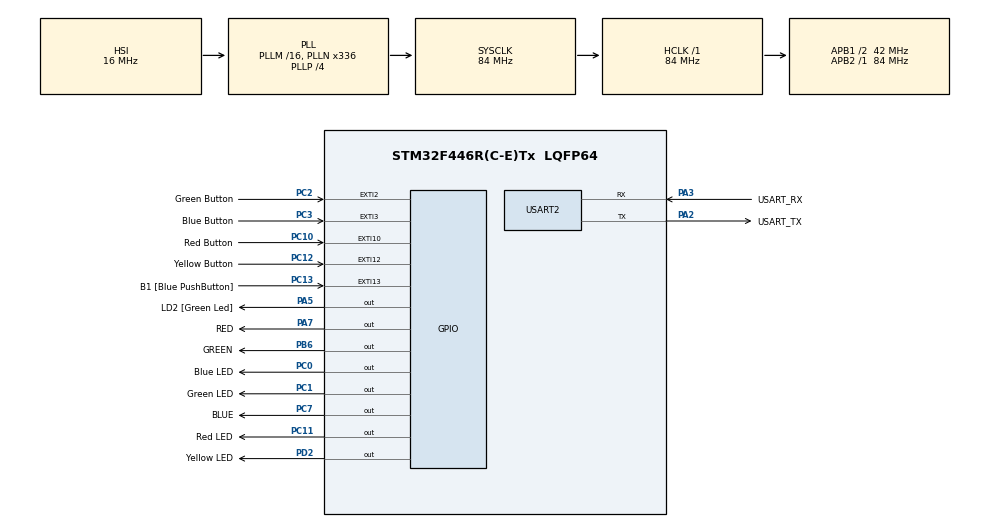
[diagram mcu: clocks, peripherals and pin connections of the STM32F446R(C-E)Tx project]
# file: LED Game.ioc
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Mcu.Family=STM32F4
Mcu.Name=STM32F446R(C-E)Tx
Mcu.Package=LQFP64
NVIC.EXTI15_10_IRQn=true\:0\:0\:false\:false\:true\:true\:true\:true
NVIC.EXTI2_IRQn=true\:0\:0\:false\:false\:true\:true\:true\:true
NVIC.EXTI3_IRQn=true\:0\:0\:false\:false\:true\:true\:true\:true
NVIC.PriorityGroup=NVIC_PRIORITYGROUP_0
NVIC.TIM3_IRQn=true\:0\:0\:false\:false\:true\:true\:true\:true
PA13.GPIO_Label=TMS
PA13.Mode=Serial_Wire
PA13.Signal=SYS_JTMS-SWDIO
PA14.GPIO_Label=TCK
PA14.Mode=Serial_Wire
PA14.Signal=SYS_JTCK-SWCLK
PA2.GPIO_Label=USART_TX
PA2.Mode=Asynchronous
PA2.Signal=USART2_TX
PA3.GPIO_Label=USART_RX
PA3.Mode=Asynchronous
PA3.Signal=USART2_RX
PA5.GPIO_Label=LD2 [Green Led]
PA5.Signal=GPIO_Output
PA7.GPIO_Label=RED
PA7.Signal=GPIO_Output
PB3.GPIO_Label=SWO
PB3.Signal=SYS_JTDO-SWO
PB6.GPIO_Label=GREEN
PB6.Signal=GPIO_Output
PC0.GPIO_Label=Blue LED
PC0.Signal=GPIO_Output
PC1.GPIO_Label=Green LED
PC1.Signal=GPIO_Output
PC10.GPIO_Label=Red Button
PC10.Signal=GPXTI10
PC11.GPIO_Label=Red LED
PC11.Signal=GPIO_Output
PC12.GPIO_Label=Yellow Button
PC12.Signal=GPXTI12
PC13.GPIO_Label=B1 [Blue PushButton]
PC13.GPIO_ModeDefaultEXTI=GPIO_MODE_IT_FALLING
PC13.Signal=GPXTI13
PC14-OSC32_IN.Mode=LSE-External-Oscillator
PC14-OSC32_IN.Signal=RCC_OSC32_IN
PC15-OSC32_OUT.Mode=LSE-External-Oscillator
PC15-OSC32_OUT.Signal=RCC_OSC32_OUT
PC2.GPIO_Label=Green Button
PC2.Signal=GPXTI2
PC3.GPIO_Label=Blue Button
PC3.Signal=GPXTI3
PC7.GPIO_Label=BLUE
PC7.Signal=GPIO_Output
PD2.GPIO_Label=Yellow LED
PD2.Signal=GPIO_Output
PH0-OSC_IN.Mode=HSE-External-Oscillator
PH0-OSC_IN.Signal=RCC_OSC_IN
PH1-OSC_OUT.Mode=HSE-External-Oscillator
PH1-OSC_OUT.Signal=RCC_OSC_OUT
ProjectManager.HeapSize=0x200
ProjectManager.StackSize=0x400
ProjectManager.TargetToolchain=STM32CubeIDE
RCC.48MHZClocksFreq_Value=84000000
RCC.AHBFreq_Value=84000000
RCC.APB1CLKDivider=RCC_HCLK_DIV2
RCC.APB1Freq_Value=42000000
RCC.APB1TimFreq_Value=84000000
RCC.APB2Freq_Value=84000000
RCC.APB2TimFreq_Value=84000000
RCC.CortexFreq_Value=84000000
RCC.FLatency-AdvancedSettings=FLASH_LATENCY_2
RCC.HCLKFreq_Value=84000000
RCC.HSE_VALUE=8000000
RCC.HSI_VALUE=16000000
RCC.PLLN=336
RCC.PLLP=RCC_PLLP_DIV4
RCC.SYSCLKFreq_VALUE=84000000
RCC.SYSCLKSource=RCC_SYSCLKSOURCE_PLLCLK
RCC.USBFreq_Value=168000000
RCC.VCOOutputFreq_Value=336000000
TIM3.Period=10000
TIM3.Prescaler=8400
USART2.VirtualMode=VM_ASYNC
VP_TIM3_VS_ClockSourceINT.Mode=Internal
board=NUCLEO-F446RE

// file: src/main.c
/* USER CODE BEGIN Header */
/**
  ******************************************************************************
  * @file           : main.c
  * @brief          : Main program body
  ******************************************************************************
  * @attention
  *
  * Copyright (c) 2025 STMicroelectronics.
  * All rights reserved.
  *
  * This software is licensed under terms that can be found in the LICENSE file
  * in the root directory of this software component.
  * If no LICENSE file comes with this software, it is provided AS-IS.
  *
  ******************************************************************************
  */
/* USER CODE END Header */
#include "main.h"

TIM_HandleTypeDef htim3;

UART_HandleTypeDef huart2;

/* USER CODE BEGIN PV */
int led = 0; // led state/selection. Allows a timer to know which button was pressed and toggle that led off
// Also used to prevent a second button press while one is occuring.
// It is 1 - 4 depending on the button. 5 on correct selection

int RGBledPosition = 0; //the RGB LEDs colour

int state = 0; //program state

volatile unsigned int seed = 0; // for randomization
/* USER CODE END PV */

void SystemClock_Config(void);
static void MX_GPIO_Init(void);
static void MX_USART2_UART_Init(void);
static void MX_TIM3_Init(void);
/* USER CODE BEGIN PFP */
void ToggleRGB(int number, int state);
void randomize(); //randomizes the seed
/* USER CODE END PFP */

int main(void)
{
  /* MCU Configuration--------------------------------------------------------*/

  /* Reset of all peripherals, Initializes the Flash interface and the Systick. */
  HAL_Init();

  /* Configure the system clock */
  SystemClock_Config();

  /* Initialize all configured peripherals */
  MX_GPIO_Init();
  MX_USART2_UART_Init();
  MX_TIM3_Init();
  /* USER CODE BEGIN 2 */
  __HAL_TIM_CLEAR_FLAG(&htim3, TIM_FLAG_UPDATE); //seems like a flag is being set by default, and causes the first timer callback to trigger instantly
  /* USER CODE END 2 */

  /* Infinite loop */
  /* USER CODE BEGIN WHILE */
  while (1)
  {
    if (state == 0){
      if (HAL_GPIO_ReadPin(B1_GPIO_Port, B1_Pin) == 0){ //i really shouldnt be polling here but I don't think it matters and it could add to the "randomness"
        seed = SysTick->VAL; //setting the seed to something semi random.
        state = 1;
      }
    }
    else if (state == 1){
      RGBledPosition = seed & 0b11; //picking which led we toggle
      ToggleRGB(RGBledPosition, state);
      randomize();
      state = 2;
    }
    else{
      __WFE();
    }
  }
}

void SystemClock_Config(void)
{
  RCC_OscInitTypeDef RCC_OscInitStruct = {0};
  RCC_ClkInitTypeDef RCC_ClkInitStruct = {0};

  /** Configure the main internal regulator output voltage
  */
  __HAL_RCC_PWR_CLK_ENABLE();
  __HAL_PWR_VOLTAGESCALING_CONFIG(PWR_REGULATOR_VOLTAGE_SCALE3);

  /** Initializes the RCC Oscillators according to the specified parameters
  * in the RCC_OscInitTypeDef structure.
  */
  RCC_OscInitStruct.OscillatorType = RCC_OSCILLATORTYPE_HSI;
  RCC_OscInitStruct.HSIState = RCC_HSI_ON;
  RCC_OscInitStruct.HSICalibrationValue = RCC_HSICALIBRATION_DEFAULT;
  RCC_OscInitStruct.PLL.PLLState = RCC_PLL_ON;
  RCC_OscInitStruct.PLL.PLLSource = RCC_PLLSOURCE_HSI;
  RCC_OscInitStruct.PLL.PLLM = 16;
  RCC_OscInitStruct.PLL.PLLN = 336;
  RCC_OscInitStruct.PLL.PLLP = RCC_PLLP_DIV4;
  RCC_OscInitStruct.PLL.PLLQ = 2;
  RCC_OscInitStruct.PLL.PLLR = 2;
  if (HAL_RCC_OscConfig(&RCC_OscInitStruct) != HAL_OK)
  {
    Error_Handler();
  }

  /** Initializes the CPU, AHB and APB buses clocks
  */
  RCC_ClkInitStruct.ClockType = RCC_CLOCKTYPE_HCLK|RCC_CLOCKTYPE_SYSCLK
                              |RCC_CLOCKTYPE_PCLK1|RCC_CLOCKTYPE_PCLK2;
  RCC_ClkInitStruct.SYSCLKSource = RCC_SYSCLKSOURCE_PLLCLK;
  RCC_ClkInitStruct.AHBCLKDivider = RCC_SYSCLK_DIV1;
  RCC_ClkInitStruct.APB1CLKDivider = RCC_HCLK_DIV2;
  RCC_ClkInitStruct.APB2CLKDivider = RCC_HCLK_DIV1;

  if (HAL_RCC_ClockConfig(&RCC_ClkInitStruct, FLASH_LATENCY_2) != HAL_OK)
  {
    Error_Handler();
  }
}

static void MX_TIM3_Init(void)
{
  TIM_ClockConfigTypeDef sClockSourceConfig = {0};
  TIM_MasterConfigTypeDef sMasterConfig = {0};

  htim3.Instance = TIM3;
  htim3.Init.Prescaler = 8400;
  htim3.Init.CounterMode = TIM_COUNTERMODE_UP;
  htim3.Init.Period = 10000;
  htim3.Init.ClockDivision = TIM_CLOCKDIVISION_DIV1;
  htim3.Init.AutoReloadPreload = TIM_AUTORELOAD_PRELOAD_DISABLE;
  if (HAL_TIM_Base_Init(&htim3) != HAL_OK)
  {
    Error_Handler();
  }
  sClockSourceConfig.ClockSource = TIM_CLOCKSOURCE_INTERNAL;
  if (HAL_TIM_ConfigClockSource(&htim3, &sClockSourceConfig) != HAL_OK)
  {
    Error_Handler();
  }
  sMasterConfig.MasterOutputTrigger = TIM_TRGO_RESET;
  sMasterConfig.MasterSlaveMode = TIM_MASTERSLAVEMODE_DISABLE;
  if (HAL_TIMEx_MasterConfigSynchronization(&htim3, &sMasterConfig) != HAL_OK)
  {
    Error_Handler();
  }
  /* USER CODE BEGIN TIM3_Init 2 */
  HAL_NVIC_SetPriority(TIM3_IRQn, 0, 0);
  HAL_NVIC_EnableIRQ(TIM3_IRQn);
  /* USER CODE END TIM3_Init 2 */
}

static void MX_USART2_UART_Init(void)
{
  huart2.Instance = USART2;
  huart2.Init.BaudRate = 115200;
  huart2.Init.WordLength = UART_WORDLENGTH_8B;
  huart2.Init.StopBits = UART_STOPBITS_1;
  huart2.Init.Parity = UART_PARITY_NONE;
  huart2.Init.Mode = UART_MODE_TX_RX;
  huart2.Init.HwFlowCtl = UART_HWCONTROL_NONE;
  huart2.Init.OverSampling = UART_OVERSAMPLING_16;
  if (HAL_UART_Init(&huart2) != HAL_OK)
  {
    Error_Handler();
  }
}

static void MX_GPIO_Init(void)
{
  GPIO_InitTypeDef GPIO_InitStruct = {0};
  /* GPIO Ports Clock Enable */
  __HAL_RCC_GPIOC_CLK_ENABLE();
  __HAL_RCC_GPIOH_CLK_ENABLE();
  __HAL_RCC_GPIOA_CLK_ENABLE();
  __HAL_RCC_GPIOD_CLK_ENABLE();
  __HAL_RCC_GPIOB_CLK_ENABLE();

  /*Configure GPIO pin Output Level */
  HAL_GPIO_WritePin(GPIOC, Blue_LED_Pin|Green_LED_Pin|BLUE_Pin|Red_LED_Pin, GPIO_PIN_RESET);

  /*Configure GPIO pin Output Level */
  HAL_GPIO_WritePin(GPIOA, LD2_Pin|RED_Pin, GPIO_PIN_RESET);

  /*Configure GPIO pin Output Level */
  HAL_GPIO_WritePin(Yellow_LED_GPIO_Port, Yellow_LED_Pin, GPIO_PIN_RESET);

  /*Configure GPIO pin Output Level */
  HAL_GPIO_WritePin(GREEN_GPIO_Port, GREEN_Pin, GPIO_PIN_RESET);

  /*Configure GPIO pin : B1_Pin */
  GPIO_InitStruct.Pin = B1_Pin;
  GPIO_InitStruct.Mode = GPIO_MODE_IT_FALLING;
  GPIO_InitStruct.Pull = GPIO_NOPULL;
  HAL_GPIO_Init(B1_GPIO_Port, &GPIO_InitStruct);

  /*Configure GPIO pins : Blue_LED_Pin Green_LED_Pin BLUE_Pin Red_LED_Pin */
  GPIO_InitStruct.Pin = Blue_LED_Pin|Green_LED_Pin|BLUE_Pin|Red_LED_Pin;
  GPIO_InitStruct.Mode = GPIO_MODE_OUTPUT_PP;
  GPIO_InitStruct.Pull = GPIO_NOPULL;
  GPIO_InitStruct.Speed = GPIO_SPEED_FREQ_LOW;
  HAL_GPIO_Init(GPIOC, &GPIO_InitStruct);

  /*Configure GPIO pins : Green_Button_Pin Blue_Button_Pin Red_Button_Pin Yellow_Button_Pin */
  GPIO_InitStruct.Pin = Green_Button_Pin|Blue_Button_Pin|Red_Button_Pin|Yellow_Button_Pin;
  GPIO_InitStruct.Mode = GPIO_MODE_IT_FALLING;
  GPIO_InitStruct.Pull = GPIO_PULLUP;
  HAL_GPIO_Init(GPIOC, &GPIO_InitStruct);

  /*Configure GPIO pins : LD2_Pin RED_Pin */
  GPIO_InitStruct.Pin = LD2_Pin|RED_Pin;
  GPIO_InitStruct.Mode = GPIO_MODE_OUTPUT_PP;
  GPIO_InitStruct.Pull = GPIO_NOPULL;
  GPIO_InitStruct.Speed = GPIO_SPEED_FREQ_LOW;
  HAL_GPIO_Init(GPIOA, &GPIO_InitStruct);

  /*Configure GPIO pin : Yellow_LED_Pin */
  GPIO_InitStruct.Pin = Yellow_LED_Pin;
  GPIO_InitStruct.Mode = GPIO_MODE_OUTPUT_PP;
  GPIO_InitStruct.Pull = GPIO_NOPULL;
  GPIO_InitStruct.Speed = GPIO_SPEED_FREQ_LOW;
  HAL_GPIO_Init(Yellow_LED_GPIO_Port, &GPIO_InitStruct);

  /*Configure GPIO pin : GREEN_Pin */
  GPIO_InitStruct.Pin = GREEN_Pin;
  GPIO_InitStruct.Mode = GPIO_MODE_OUTPUT_PP;
  GPIO_InitStruct.Pull = GPIO_NOPULL;
  GPIO_InitStruct.Speed = GPIO_SPEED_FREQ_LOW;
  HAL_GPIO_Init(GREEN_GPIO_Port, &GPIO_InitStruct);

  /* EXTI interrupt init*/
  HAL_NVIC_SetPriority(EXTI2_IRQn, 2, 0);
  HAL_NVIC_EnableIRQ(EXTI2_IRQn);

  HAL_NVIC_SetPriority(EXTI3_IRQn, 2, 0);
  HAL_NVIC_EnableIRQ(EXTI3_IRQn);

  HAL_NVIC_SetPriority(EXTI15_10_IRQn, 2, 0);
  HAL_NVIC_EnableIRQ(EXTI15_10_IRQn);
}

/* USER CODE BEGIN 4 */

// This callback is just lighting up the corresponding led when we press a button
void HAL_GPIO_EXTI_Callback(uint16_t GPIO_Pin){
  if (led == 0){
    if (GPIO_Pin == Green_Button_Pin){
      led = 3;
      HAL_GPIO_WritePin(Green_LED_GPIO_Port, Green_LED_Pin, 1);
      __HAL_TIM_SET_COUNTER(&htim3, 0);
      HAL_TIM_Base_Start_IT(&htim3);
    }
    else if (GPIO_Pin == Blue_Button_Pin){
      led = 4;
      HAL_GPIO_WritePin(Blue_LED_GPIO_Port, Blue_LED_Pin, 1);
      __HAL_TIM_SET_COUNTER(&htim3, 0);
      HAL_TIM_Base_Start_IT(&htim3);
    }
    else if (GPIO_Pin == Red_Button_Pin){
      led = 1;
      HAL_GPIO_WritePin(Red_LED_GPIO_Port, Red_LED_Pin, 1);
      __HAL_TIM_SET_COUNTER(&htim3, 0);
      HAL_TIM_Base_Start_IT(&htim3);
    }
    else if (GPIO_Pin == Yellow_Button_Pin){
      led = 2;
      HAL_GPIO_WritePin(Yellow_LED_GPIO_Port, Yellow_LED_Pin, 1);
      __HAL_TIM_SET_COUNTER(&htim3, 0);
      HAL_TIM_Base_Start_IT(&htim3);
    }
  }
}

// This callback turns off the led a second after pressing the button.
void HAL_TIM_PeriodElapsedCallback(TIM_HandleTypeDef *htim) {
  if (htim->Instance == TIM3 && led != 0) {
    HAL_TIM_Base_Stop_IT(&htim3);
    switch (led){
      case 1:
        HAL_GPIO_WritePin(Red_LED_GPIO_Port, Red_LED_Pin, 0);
        break;
      case 2:
        HAL_GPIO_WritePin(Yellow_LED_GPIO_Port, Yellow_LED_Pin, 0);
        break;
      case 3:
        HAL_GPIO_WritePin(Green_LED_GPIO_Port, Green_LED_Pin, 0);
        break;
      case 4:
        HAL_GPIO_WritePin(Blue_LED_GPIO_Port, Blue_LED_Pin, 0);
        break;
      case 5:
        state = 1;
        break;
    }
    if (RGBledPosition == led -1){
      led = 5; // This prevents the buttons from toggling LED's again
      ToggleRGB(RGBledPosition, 0);
      // We do not want the RGB LED to go off immediately. This acts as our delay
      __HAL_TIM_SET_COUNTER(&htim3, 0);
      HAL_TIM_Base_Start_IT(&htim3);
    }
    else{
      led = 0;
    }
  }
}

// Toggles the RGB LED depending on which LED we want.
void ToggleRGB(int number, int led_state){
  int task = 0; //toggle on or off
  if (led_state == 1){
    task = 1;
  }
  switch (number){
    case 0:
      HAL_GPIO_WritePin(RED_GPIO_Port, RED_Pin, task);
      break;
    case 1:
      HAL_GPIO_WritePin(GREEN_GPIO_Port, GREEN_Pin, task);
      HAL_GPIO_WritePin(RED_GPIO_Port, RED_Pin, task);
      break;
    case 2:
      HAL_GPIO_WritePin(GREEN_GPIO_Port, GREEN_Pin, task);
      break;
    case 3:
      HAL_GPIO_WritePin(BLUE_GPIO_Port, BLUE_Pin, task);
      break;
  }
}

// simple xor shift prng for the seed
void randomize() {
  unsigned int x = seed;
  x^= x << 13;
  x^= x >> 17;
  x^= x << 5;
  seed = x;
}
/* USER CODE END 4 */

void Error_Handler(void)
{
  __disable_irq();
  while (1)
  {
  }
}
